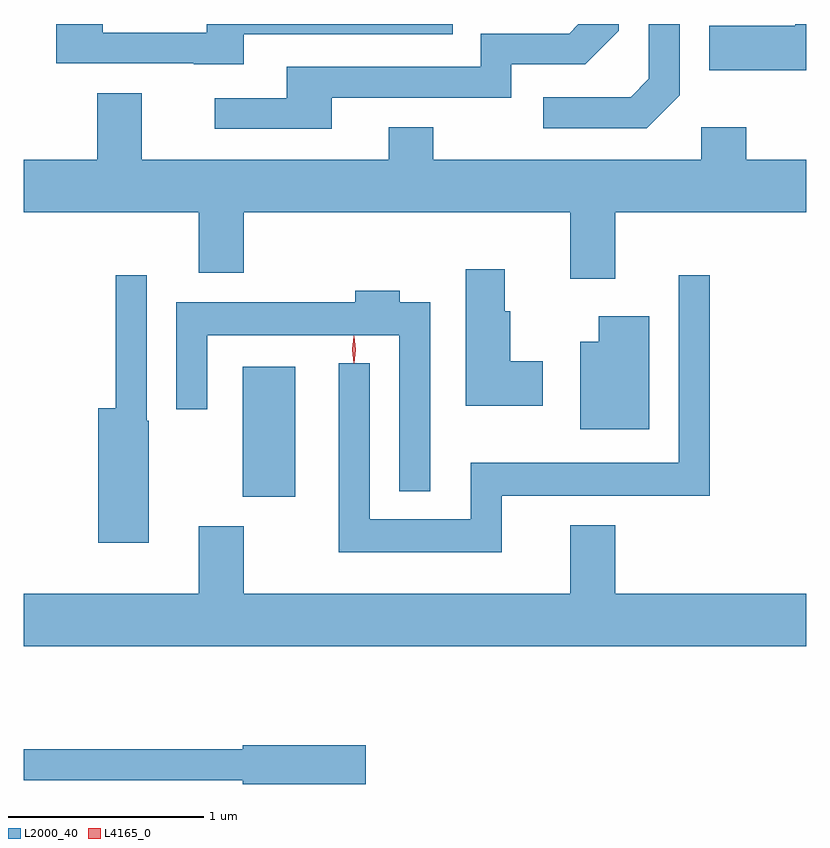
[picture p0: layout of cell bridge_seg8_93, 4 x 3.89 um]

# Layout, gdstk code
import gdstk
lib = gdstk.Library(unit=1e-6, precision=1e-09)
def R(c, l, rs):  # rectangles x0, y0, x1, y1
    for r in rs: c.add(gdstk.rectangle(r[:2], r[2:], *l))
def P(c, l, *ps):  # polygons
    for p in ps: c.add(gdstk.Polygon(p, *l))
L2000_40 = (2000, 40)
L4165_0 = (4165, 0)

bridge_seg8_93 = lib.new_cell('bridge_seg8_93')
R(bridge_seg8_93, L2000_40, [(1548.746,1812.761,1549.014,1813.424)])
P(bridge_seg8_93, L2000_40, [(1550.979,1814.814),(1550.979,1815.178),(1550.821,1815.178),(1550.821,1814.897),(1550.729,1814.804),(1550.283,1814.804),(1550.283,1814.646),(1550.812,1814.646)],
  [(1548.749,1815.126),(1549.818,1815.126),(1549.818,1815.178),(1548.561,1815.178),(1548.561,1815.134),(1548.029,1815.134),(1548.029,1815.178),(1547.791,1815.178),(1547.791,1814.976),(1548.495,1814.976),(1548.495,1814.971),(1548.749,1814.971)],
  [(1549.199,1814.801),(1550.119,1814.801),(1550.119,1814.971),(1550.497,1814.971),(1550.669,1815.144),(1550.669,1815.178),(1550.462,1815.178),(1550.414,1815.129),(1549.961,1815.129),(1549.961,1814.959),(1548.971,1814.959),(1548.971,1814.799),(1548.603,1814.799),(1548.603,1814.641),(1549.199,1814.641)],
  [(1551.626,1815.178),(1551.571,1815.178),(1551.571,1815.169),(1551.131,1815.169),(1551.131,1814.941),(1551.626,1814.941)],
  [(1550.649,1814.216),(1551.626,1814.216),(1551.626,1814.484),(1551.319,1814.484),(1551.319,1814.649),(1551.091,1814.649),(1551.091,1814.484),(1549.719,1814.484),(1549.719,1814.649),(1549.491,1814.649),(1549.491,1814.484),(1548.229,1814.484),(1548.229,1814.824),(1548.001,1814.824),(1548.001,1814.484),(1547.626,1814.484),(1547.626,1814.216),(1548.521,1814.216),(1548.521,1813.906),(1548.749,1813.906),(1548.749,1814.216),(1550.421,1814.216),(1550.421,1813.876),(1550.649,1813.876)],
  [(1550.279,1813.454),(1550.114,1813.454),(1550.114,1813.709),(1550.084,1813.709),(1550.084,1813.924),(1549.886,1813.924),(1549.886,1813.226),(1550.279,1813.226)],
  [(1550.069,1812.766),(1551.134,1812.766),(1551.134,1813.893),(1550.976,1813.893),(1550.976,1812.934),(1549.911,1812.934),(1549.911,1812.644),(1549.394,1812.644),(1549.394,1813.443),(1549.236,1813.443),(1549.236,1812.476),(1550.069,1812.476)],
  [(1548.264,1813.15),(1548.254,1813.15),(1548.254,1813.893),(1548.096,1813.893),(1548.096,1813.214),(1548.006,1813.214),(1548.006,1812.526),(1548.264,1812.526)],
  [(1549.704,1813.754),(1549.549,1813.754),(1549.549,1813.814),(1549.321,1813.814),(1549.321,1813.754),(1548.406,1813.754),(1548.406,1813.208),(1548.564,1813.208),(1548.564,1813.586),(1549.546,1813.586),(1549.546,1812.788),(1549.704,1812.788)],
  [(1550.824,1813.684),(1550.566,1813.684),(1550.566,1813.554),(1550.471,1813.554),(1550.471,1813.106),(1550.824,1813.106)],
  [(1551.626,1812.264),(1550.649,1812.264),(1550.649,1812.614),(1550.421,1812.614),(1550.421,1812.264),(1548.749,1812.264),(1548.749,1812.609),(1548.521,1812.609),(1548.521,1812.264),(1547.626,1812.264),(1547.626,1811.996),(1551.626,1811.996)],
  [(1549.374,1811.489),(1548.746,1811.489),(1548.746,1811.469),(1547.626,1811.469),(1547.626,1811.311),(1548.746,1811.311),(1548.746,1811.291),(1549.374,1811.291)])
P(bridge_seg8_93, L4165_0, [(1549.313,1813.447),(1549.304,1813.514),(1549.313,1813.58),(1549.314,1813.58),(1549.314,1813.58),(1549.324,1813.514),(1549.314,1813.447),(1549.314,1813.447)],
  [(1549.314,1813.444),(1549.314,1813.444),(1549.304,1813.513),(1549.314,1813.582),(1549.314,1813.583),(1549.315,1813.582),(1549.324,1813.513),(1549.315,1813.444)])

lib.write_gds('bridge_seg8_93.gds')
